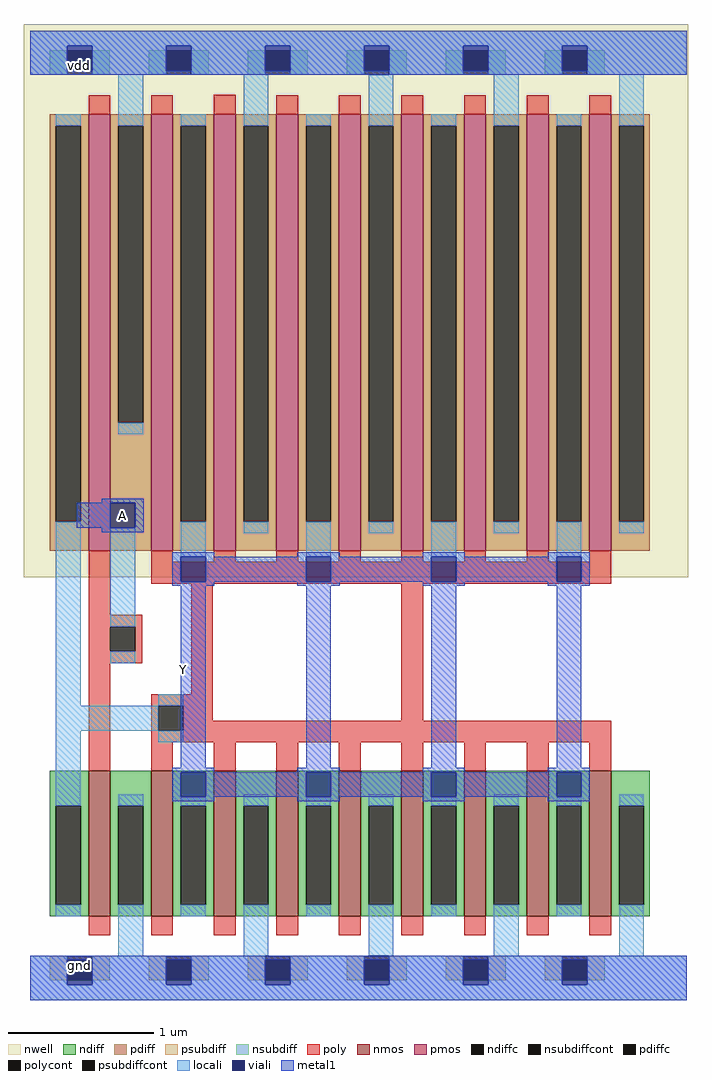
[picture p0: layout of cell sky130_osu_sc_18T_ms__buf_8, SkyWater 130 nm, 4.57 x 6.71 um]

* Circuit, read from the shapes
.subckt sky130_osu_sc_18T_ms__buf_8 A Y
XM1 gnd A n1 gnd sky130_fd_pr__nfet_01v8 w=1 l=0.15
XM2 Y n1 gnd gnd sky130_fd_pr__nfet_01v8 w=1 l=0.15 m=8
XM3 vdd A n1 vdd sky130_fd_pr__pfet_01v8 w=3 l=0.15
XM4 Y n1 vdd vdd sky130_fd_pr__pfet_01v8 w=3 l=0.15 m=8
.ends

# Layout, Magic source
magic
tech sky130A
magscale 1 2
<< nwell >>
rect -9 581 904 1341
<< nmos >>
rect 80 115 110 315
rect 166 115 196 315
rect 252 115 282 315
rect 338 115 368 315
rect 424 115 454 315
rect 510 115 540 315
rect 596 115 626 315
rect 682 115 712 315
rect 768 115 798 315
<< pmos >>
rect 80 617 110 1217
rect 166 617 196 1217
rect 252 617 282 1217
rect 338 617 368 1217
rect 424 617 454 1217
rect 510 617 540 1217
rect 596 617 626 1217
rect 682 617 712 1217
rect 768 617 798 1217
<< ndiff >>
rect 27 267 80 315
rect 27 131 35 267
rect 69 131 80 267
rect 27 115 80 131
rect 110 267 166 315
rect 110 131 121 267
rect 155 131 166 267
rect 110 115 166 131
rect 196 267 252 315
rect 196 131 207 267
rect 241 131 252 267
rect 196 115 252 131
rect 282 267 338 315
rect 282 131 293 267
rect 327 131 338 267
rect 282 115 338 131
rect 368 267 424 315
rect 368 131 379 267
rect 413 131 424 267
rect 368 115 424 131
rect 454 267 510 315
rect 454 131 465 267
rect 499 131 510 267
rect 454 115 510 131
rect 540 267 596 315
rect 540 131 551 267
rect 585 131 596 267
rect 540 115 596 131
rect 626 267 682 315
rect 626 131 637 267
rect 671 131 682 267
rect 626 115 682 131
rect 712 267 768 315
rect 712 131 723 267
rect 757 131 768 267
rect 712 115 768 131
rect 798 267 851 315
rect 798 131 809 267
rect 843 131 851 267
rect 798 115 851 131
<< pdiff >>
rect 27 1201 80 1217
rect 27 657 35 1201
rect 69 657 80 1201
rect 27 617 80 657
rect 110 1201 166 1217
rect 110 793 121 1201
rect 155 793 166 1201
rect 110 617 166 793
rect 196 1201 252 1217
rect 196 657 207 1201
rect 241 657 252 1201
rect 196 617 252 657
rect 282 1201 338 1217
rect 282 657 293 1201
rect 327 657 338 1201
rect 282 617 338 657
rect 368 1201 424 1217
rect 368 657 379 1201
rect 413 657 424 1201
rect 368 617 424 657
rect 454 1201 510 1217
rect 454 657 465 1201
rect 499 657 510 1201
rect 454 617 510 657
rect 540 1201 596 1217
rect 540 657 551 1201
rect 585 657 596 1201
rect 540 617 596 657
rect 626 1201 682 1217
rect 626 657 637 1201
rect 671 657 682 1201
rect 626 617 682 657
rect 712 1201 768 1217
rect 712 657 723 1201
rect 757 657 768 1201
rect 712 617 768 657
rect 798 1201 851 1217
rect 798 657 809 1201
rect 843 657 851 1201
rect 798 617 851 657
<< ndiffc >>
rect 35 131 69 267
rect 121 131 155 267
rect 207 131 241 267
rect 293 131 327 267
rect 379 131 413 267
rect 465 131 499 267
rect 551 131 585 267
rect 637 131 671 267
rect 723 131 757 267
rect 809 131 843 267
<< pdiffc >>
rect 35 657 69 1201
rect 121 793 155 1201
rect 207 657 241 1201
rect 293 657 327 1201
rect 379 657 413 1201
rect 465 657 499 1201
rect 551 657 585 1201
rect 637 657 671 1201
rect 723 657 757 1201
rect 809 657 843 1201
<< psubdiff >>
rect 27 27 51 61
rect 85 27 109 61
rect 163 27 187 61
rect 221 27 245 61
rect 299 27 323 61
rect 357 27 381 61
rect 435 27 459 61
rect 493 27 517 61
rect 571 27 595 61
rect 629 27 653 61
rect 707 27 731 61
rect 765 27 789 61
<< nsubdiff >>
rect 27 1271 51 1305
rect 85 1271 109 1305
rect 163 1271 187 1305
rect 221 1271 245 1305
rect 299 1271 323 1305
rect 357 1271 381 1305
rect 435 1271 459 1305
rect 493 1271 517 1305
rect 571 1271 595 1305
rect 629 1271 653 1305
rect 707 1271 731 1305
rect 765 1271 789 1305
<< psubdiffcont >>
rect 51 27 85 61
rect 187 27 221 61
rect 323 27 357 61
rect 459 27 493 61
rect 595 27 629 61
rect 731 27 765 61
<< nsubdiffcont >>
rect 51 1271 85 1305
rect 187 1271 221 1305
rect 323 1271 357 1305
rect 459 1271 493 1305
rect 595 1271 629 1305
rect 731 1271 765 1305
<< poly >>
rect 80 1217 110 1243
rect 166 1217 196 1243
rect 252 1217 282 1244
rect 338 1217 368 1243
rect 424 1217 454 1243
rect 510 1217 540 1243
rect 596 1217 626 1243
rect 682 1217 712 1243
rect 768 1217 798 1243
rect 80 529 110 617
rect 166 602 196 617
rect 252 602 282 617
rect 338 602 368 617
rect 424 602 454 617
rect 510 602 540 617
rect 596 602 626 617
rect 682 602 712 617
rect 768 602 798 617
rect 166 572 798 602
rect 80 513 154 529
rect 80 479 110 513
rect 144 479 154 513
rect 80 463 154 479
rect 80 315 110 463
rect 221 420 251 572
rect 166 404 251 420
rect 166 370 176 404
rect 210 384 251 404
rect 510 384 540 572
rect 210 370 798 384
rect 166 354 798 370
rect 166 315 196 354
rect 252 315 282 354
rect 338 315 368 354
rect 424 315 454 354
rect 510 315 540 354
rect 596 315 626 354
rect 682 315 712 354
rect 768 315 798 354
rect 80 89 110 115
rect 166 89 196 115
rect 252 89 282 115
rect 338 89 368 115
rect 424 89 454 115
rect 510 89 540 115
rect 596 89 626 115
rect 682 89 712 115
rect 768 89 798 115
<< polycont >>
rect 110 479 144 513
rect 176 370 210 404
<< locali >>
rect 0 1311 902 1332
rect 0 1271 51 1311
rect 85 1271 187 1311
rect 221 1271 323 1311
rect 357 1271 459 1311
rect 493 1271 595 1311
rect 629 1271 731 1311
rect 765 1271 902 1311
rect 35 1201 69 1217
rect 121 1201 155 1271
rect 121 777 155 793
rect 207 1201 241 1217
rect 35 404 69 657
rect 110 513 144 649
rect 207 609 241 657
rect 293 1201 327 1271
rect 293 641 327 657
rect 379 1201 413 1217
rect 379 609 413 657
rect 465 1201 499 1271
rect 465 641 499 657
rect 551 1201 585 1217
rect 551 609 585 657
rect 637 1201 671 1271
rect 637 641 671 657
rect 723 1201 757 1217
rect 723 609 757 657
rect 809 1201 843 1271
rect 809 641 843 657
rect 110 463 144 479
rect 176 404 210 420
rect 35 370 176 404
rect 35 267 69 370
rect 176 354 210 370
rect 35 115 69 131
rect 121 267 155 283
rect 121 61 155 131
rect 207 267 241 279
rect 207 115 241 131
rect 293 267 327 283
rect 293 61 327 131
rect 379 267 413 279
rect 379 115 413 131
rect 465 267 499 283
rect 465 61 499 131
rect 551 267 585 279
rect 551 115 585 131
rect 637 267 671 283
rect 637 61 671 131
rect 723 267 757 279
rect 723 115 757 131
rect 809 267 843 283
rect 809 61 843 131
rect 0 21 51 61
rect 85 21 187 61
rect 221 21 323 61
rect 357 21 459 61
rect 493 21 595 61
rect 629 21 731 61
rect 765 21 902 61
rect 0 0 902 21
<< viali >>
rect 51 1305 85 1311
rect 51 1277 85 1305
rect 187 1305 221 1311
rect 187 1277 221 1305
rect 323 1305 357 1311
rect 323 1277 357 1305
rect 459 1305 493 1311
rect 459 1277 493 1305
rect 595 1305 629 1311
rect 595 1277 629 1305
rect 731 1305 765 1311
rect 731 1277 765 1305
rect 110 649 144 683
rect 207 575 241 609
rect 379 575 413 609
rect 551 575 585 609
rect 723 575 757 609
rect 207 279 241 313
rect 379 279 413 313
rect 551 279 585 313
rect 723 279 757 313
rect 51 27 85 55
rect 51 21 85 27
rect 187 27 221 55
rect 187 21 221 27
rect 323 27 357 55
rect 323 21 357 27
rect 459 27 493 55
rect 459 21 493 27
rect 595 27 629 55
rect 595 21 629 27
rect 731 27 765 55
rect 731 21 765 27
<< metal1 >>
rect 0 1311 902 1332
rect 0 1277 51 1311
rect 85 1277 187 1311
rect 221 1277 323 1311
rect 357 1277 459 1311
rect 493 1277 595 1311
rect 629 1277 731 1311
rect 765 1277 902 1311
rect 0 1271 902 1277
rect 98 683 156 689
rect 64 649 110 683
rect 144 649 156 683
rect 98 643 156 649
rect 195 609 253 615
rect 367 609 425 615
rect 539 609 597 615
rect 711 609 769 615
rect 195 575 207 609
rect 241 575 379 609
rect 413 575 551 609
rect 585 575 723 609
rect 757 575 769 609
rect 195 569 253 575
rect 367 569 425 575
rect 539 569 597 575
rect 711 569 769 575
rect 207 319 241 569
rect 379 319 413 569
rect 551 319 585 569
rect 723 319 757 569
rect 195 313 253 319
rect 367 313 425 319
rect 539 313 597 319
rect 711 313 769 319
rect 195 279 207 313
rect 241 279 379 313
rect 413 279 551 313
rect 585 279 723 313
rect 757 279 769 313
rect 195 273 253 279
rect 367 273 425 279
rect 539 273 597 279
rect 711 273 769 279
rect 0 55 902 61
rect 0 21 51 55
rect 85 21 187 55
rect 221 21 323 55
rect 357 21 459 55
rect 493 21 595 55
rect 629 21 731 55
rect 765 21 902 55
rect 0 0 902 21
<< labels >>
rlabel metal1 127 666 127 666 1 A
port 1 n
rlabel metal1 211 454 211 454 1 Y
port 2 n
rlabel viali 68 48 68 48 1 gnd
rlabel viali 68 1284 68 1284 1 vdd
<< end >>
